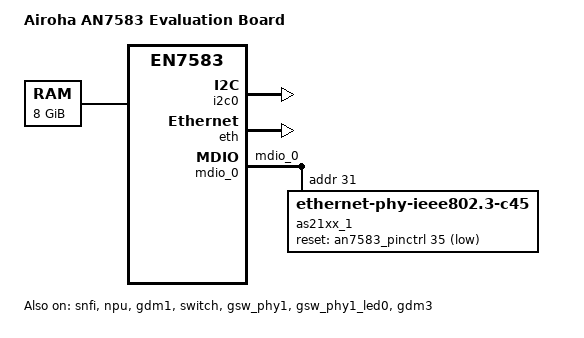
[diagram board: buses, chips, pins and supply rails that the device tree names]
// SPDX-License-Identifier: (GPL-2.0-only OR BSD-2-Clause)
/dts-v1/;

#include <dt-bindings/leds/common.h>
#include <dt-bindings/gpio/gpio.h>
#include <dt-bindings/input/input.h>
#include "an7583.dtsi"

/ {
	model = "Airoha AN7583 Evaluation Board";
	compatible = "airoha,an7583-evb", "airoha,an7583", "airoha,en7583";

	aliases {
		serial0 = &uart1;
	};

	chosen {
		bootargs = "console=ttyS0,115200 earlycon";
		stdout-path = "serial0:115200n8";
	};

	memory@80000000 {
		device_type = "memory";
		reg = <0x0 0x80000000 0x2 0x00000000>;
	};
};

&an7583_pinctrl {
	gpio-ranges = <&an7583_pinctrl 0 2 53>;

	mdio0_pins: mdio0-pins {
		conf {
			pins = "mdio_0";
			output-high;
		};
	};

	pcie0_rst_pins: pcie0-rst-pins {
		conf {
			pins = "pcie_reset0";
			drive-open-drain = <1>;
		};
	};

	pcie1_rst_pins: pcie1-rst-pins {
		conf {
			pins = "pcie_reset1";
			drive-open-drain = <1>;
		};
	};

	gswp1_led0_pins: gswp1-led0-pins {
		mux {
			function = "phy1_led0";
			pins = "gpio1";
		};
	};
};

&snfi {
	status = "okay";
};


&spi_nand {
	partitions {
		compatible = "fixed-partitions";
		#address-cells = <1>;
		#size-cells = <1>;

		bl2@0 {
			label = "bl2";
			reg = <0x0 0x20000>;
		};

		ubi@20000 {
			label = "ubi";
			reg = <0x20000 0x0>;
		};
	};
};

&i2c0 {
	status = "okay";
};

&npu {
	status = "okay";
};

&eth {
	status = "okay";
};

&gdm1 {
	status = "okay";
};

&switch {
	status = "okay";
};

&gsw_phy1 {
	pinctrl-names = "gbe-led";
	pinctrl-0 = <&gswp1_led0_pins>;
	status = "okay";
};

&gsw_phy1_led0 {
	status = "okay";
	active-low;
};

&gsw_port2 {
	status = "disabled";
};

&gsw_port3 {
	status = "disabled";
};

&gsw_port4 {
	status = "disabled";
};

&gsw_phy2 {
	status = "disabled";
};

&gsw_phy3 {
	status = "disabled";
};

&gsw_phy4 {
	status = "disabled";
};

&mdio_0 {
	pinctrl-names = "default";
	pinctrl-0 = <&mdio0_pins>;

	/* Present but not HW connected to GDM port */
	/*
	 * as21xx_0: ethernet-phy@1d {
	 *		reg = <0x1d>;
	 *		compatible = "ethernet-phy-ieee802.3-c45";
	 *		status = "disabled";
	 *
	 *		firmware-name = "as21x1x_fw.bin";
	 *
	 *		reset-deassert-us = <350000>;
	 *		reset-assert-us = <200000>;
	 *		reset-gpios = <&an7583_pinctrl 34 GPIO_ACTIVE_LOW>;
	 *
	 *		leds {
	 *			#address-cells = <1>;
	 *			#size-cells = <0>;
	 *
	 *			led@0 {
	 *				reg = <0>;
	 *				color = <LED_COLOR_ID_GREEN>;
	 *				function = LED_FUNCTION_LAN;
	 *				function-enumerator = <0>;
	 *				default-state = "keep";
	 *			};
	 *
	 *			led@1 {
	 *				reg = <1>;
	 *				color = <LED_COLOR_ID_GREEN>;
	 *				function = LED_FUNCTION_LAN;
	 *				function-enumerator = <1>;
	 *				default-state = "keep";
	 *			};
	 *		};
	 * };
	 */

	as21xx_1: ethernet-phy@1f {
		reg = <0x1f>;
		compatible = "ethernet-phy-ieee802.3-c45";

		firmware-name = "as21x1x_fw.bin";

		reset-deassert-us = <350000>;
		reset-assert-us = <200000>;
		reset-gpios = <&an7583_pinctrl 35 GPIO_ACTIVE_LOW>;

		leds {
			#address-cells = <1>;
			#size-cells = <0>;

			led@0 {
				reg = <0>;
				color = <LED_COLOR_ID_GREEN>;
				function = LED_FUNCTION_LAN;
				function-enumerator = <0>;
				default-state = "keep";
			};

			led@1 {
				reg = <1>;
				color = <LED_COLOR_ID_GREEN>;
				function = LED_FUNCTION_LAN;
				function-enumerator = <1>;
				default-state = "keep";
			};
		};
	};
};

/* GDM2 seems to be connected to PON */
/*
 *&gdm2 {
 *	status = "disabled";
 *
 *	phy-handle = <&as21xx_0>;
 *	phy-mode = "usxgmii";
 *};
 */

&gdm3 {
	status = "okay";

	phy-handle = <&as21xx_1>;
	phy-mode = "usxgmii";
};
